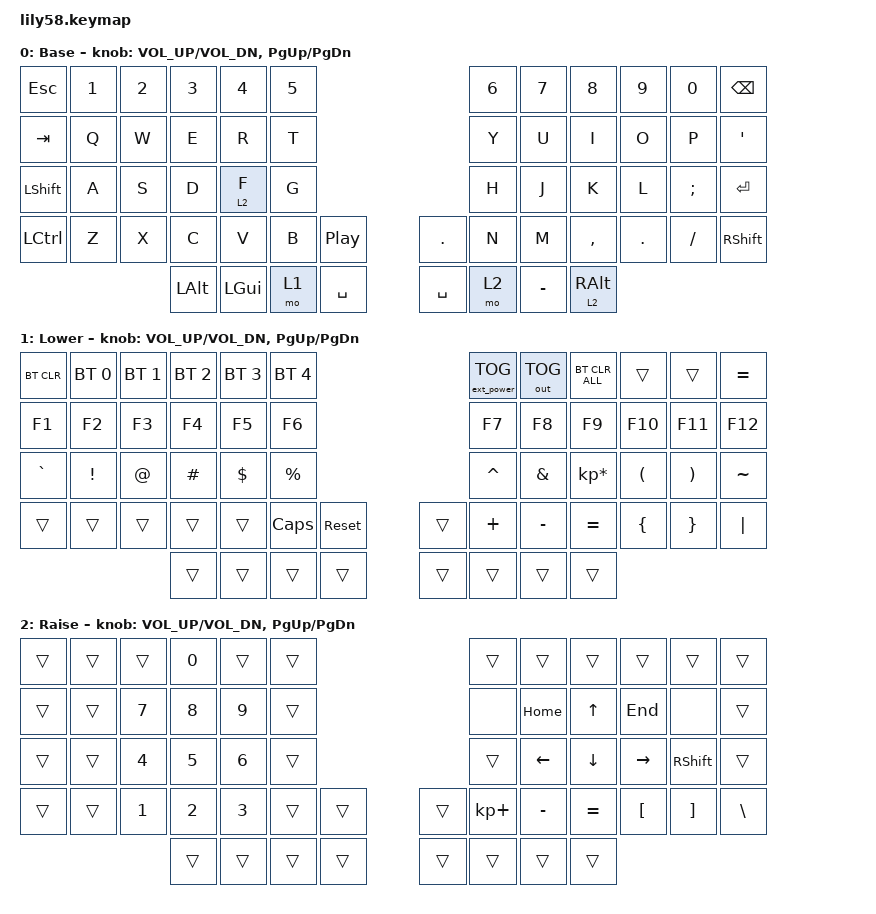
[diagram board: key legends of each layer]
/*
 * Copyright (c) 2020 The ZMK Contributors
 *
 * SPDX-License-Identifier: MIT
 */

#include <behaviors.dtsi>
#include <dt-bindings/zmk/bt.h>
#include <dt-bindings/zmk/ext_power.h>
#include <dt-bindings/zmk/keys.h>
#include <dt-bindings/zmk/outputs.h>

/ {
    combos {
        compatible = "zmk,combos";

        deleting {
            bindings = <&kp DEL>;
            key-positions = <28 31>;
        };
    };

    macros {
        HTML_COMMENTS: HTML_COMMENTS {
            compatible = "zmk,behavior-macro";
            #binding-cells = <0>;
            bindings = <&kp LESS_THAN &kp EXCLAMATION &kp MINUS &kp MINUS>;
            label = "HTML_COMMENTS";
        };
    };

    keymap {
        compatible = "zmk,keymap";

        BASE {
            // ------------------------------------------------------------------------------------------------------------
            // |  ESC  |  1  |  2  |  3   |  4   |  5   |                   |  6   |  7    |  8    |  9   |   0   |   `   |
            // |  TAB  |  Q  |  W  |  E   |  R   |  T   |                   |  Y   |  U    |  I    |  O   |   P   |   -   |
            // |  CTRL |  A  |  S  |  D   |  F   |  G   |                   |  H   |  J    |  K    |  L   |   ;   |   '   |
            // | SHIFT |  Z  |  X  |  C   |  V   |  B   |   "["  |  |  "]"  |  N   |  M    |  ,    |  .   |   /   | SHIFT |
            //                     | ALT  | GUI  | LOWER|  SPACE |  | ENTER | RAISE| BSPC  | GUI   |

            display-name = "Base";
            bindings = <
&kp ESC           &kp N1  &kp N2  &kp N3    &kp N4    &kp N5                                  &kp N6  &kp N7     &kp N8           &kp N9   &kp N0    &kp BACKSPACE
&kp TAB           &kp Q   &kp W   &kp E     &kp R     &kp T                                   &kp Y   &kp U      &kp I            &kp O    &kp P     &kp APOS
&kp LEFT_SHIFT    &kp A   &kp S   &kp D     &lt 2 F   &kp G                                   &kp H   &kp J      &kp K            &kp L    &kp SEMI  &kp ENTER
&kp LEFT_CONTROL  &kp Z   &kp X   &kp C     &kp V     &kp B   &kp C_PLAY_PAUSE    &kp PERIOD  &kp N   &kp M      &kp COMMA        &kp DOT  &kp FSLH  &kp RSHFT
                                  &kp LALT  &kp LGUI  &mo 1   &kp SPACE           &kp SPACE   &mo 2   &kp MINUS  &lt 2 RIGHT_ALT
            >;

            sensor-bindings = <&inc_dec_kp C_VOL_UP C_VOL_DN &inc_dec_kp PG_UP PG_DN>;
        };

        LOW {
            // ------------------------------------------------------------------------------------------------------------
            // | BTCLR | BT1 | BT2 |  BT3 |  BT4 |  BT5 |                   |      |       |       |      |       |       |
            // |  F1   |  F2 |  F3 |  F4  |  F5  |  F6  |                   |  F7  |  F8   |  F9   |  F10 |  F11  |  F12  |
            // |   `   |  !  |  @  |  #   |  $   |  %   |                   |  ^   |  &    |  *    |  (   |   )   |   ~   |
            // |       |     |     |      |      |      |        |  |       |      |  _    |  +    |  {   |   }   |  "|"  |
            //                     |      |      |      |        |  |       |      |       |       |

            display-name = "Lower";
            bindings = <
&bt BT_CLR  &bt BT_SEL 0  &bt BT_SEL 1  &bt BT_SEL 2  &bt BT_SEL 3  &bt BT_SEL 4                        &ext_power EP_TOG  &out OUT_TOG  &bt BT_CLR_ALL   &trans    &trans    &kp EQUAL
&kp F1      &kp F2        &kp F3        &kp F4        &kp F5        &kp F6                              &kp F7             &kp F8        &kp F9           &kp F10   &kp F11   &kp F12
&kp GRAVE   &kp EXCL      &kp AT        &kp HASH      &kp DOLLAR    &kp PRCNT                           &kp CARET          &kp AMPS      &kp KP_MULTIPLY  &kp LPAR  &kp RPAR  &kp TILDE
&trans      &trans        &trans        &trans        &trans        &kp CAPSLOCK  &sys_reset    &trans  &kp PLUS           &kp MINUS     &kp EQUAL        &kp LBRC  &kp RBRC  &kp PIPE
                                        &trans        &trans        &trans        &trans        &trans  &trans             &trans        &trans
            >;

            sensor-bindings = <&inc_dec_kp C_VOL_UP C_VOL_DN &inc_dec_kp PG_UP PG_DN>;
        };

        raise_layer {
            // ------------------------------------------------------------------------------------------------------------
            // |       |     |     |      |      |      |                   |      |       |       |      |       |       |
            // |   `   |  1  |  2  |  3   |  4   |  5   |                   |  6   |   7   |   8   |  9   |   0   |       |
            // |   F1  |  F2 |  F3 |  F4  |  F5  |  F6  |                   |      |   <-  |   v   |  ^   |  ->   |       |
            // |   F7  |  F8 |  F9 |  F10 |  F11 |  F12 |        |  |       |  +   |   -   |   =   |  [   |   ]   |   \   |
            //                     |      |      |      |        |  |       |      |       |       |

            display-name = "Raise";
            bindings = <
&trans  &trans  &trans        &kp N0        &trans        &trans                    &trans       &trans     &trans        &trans     &trans           &trans
&trans  &trans  &kp N7        &kp N8        &kp N9        &trans                    &none        &kp HOME   &kp UP_ARROW  &kp END    &none            &trans
&trans  &trans  &kp NUMBER_4  &kp N5        &kp NUMBER_6  &trans                    &trans       &kp LEFT   &kp DOWN      &kp RIGHT  &kp RIGHT_SHIFT  &trans
&trans  &trans  &kp NUMBER_1  &kp NUMBER_2  &kp NUMBER_3  &trans  &trans    &trans  &kp KP_PLUS  &kp MINUS  &kp EQUAL     &kp LBKT   &kp RBKT         &kp BSLH
                              &trans        &trans        &trans  &trans    &trans  &trans       &trans     &trans
            >;

            sensor-bindings = <&inc_dec_kp C_VOL_UP C_VOL_DN &inc_dec_kp PG_UP PG_DN>;
        };
    };
};
